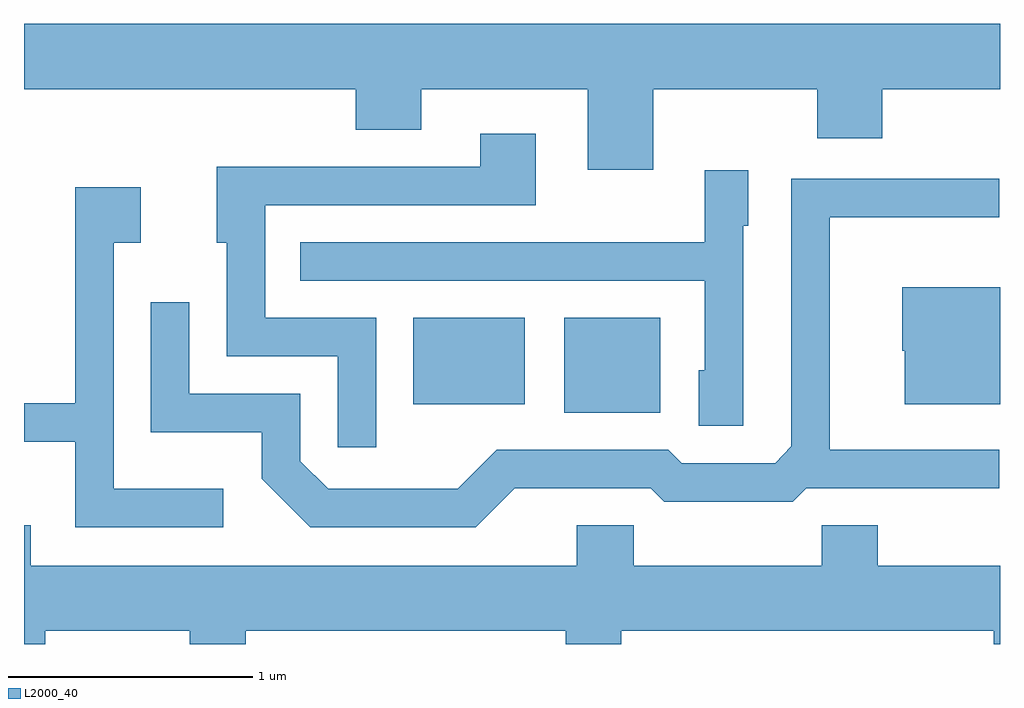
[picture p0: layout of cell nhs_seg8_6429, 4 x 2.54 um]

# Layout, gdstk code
import gdstk
lib = gdstk.Library(unit=1e-6, precision=1e-09)
def R(c, l, rs):  # rectangles x0, y0, x1, y1
    for r in rs: c.add(gdstk.rectangle(r[:2], r[2:], *l))
def P(c, l, *ps):  # polygons
    for p in ps: c.add(gdstk.Polygon(p, *l))
L2000_40 = (2000, 40)

nhs_seg8_6429 = lib.new_cell('nhs_seg8_6429')
R(nhs_seg8_6429, L2000_40, [(379.826,1857.291,380.219,1857.679), (379.206,1857.326,379.664,1857.679)])
P(nhs_seg8_6429, L2000_40, [(380.189,1858.616),(380.861,1858.616),(380.861,1858.416),(381.129,1858.416),(381.129,1858.616),(381.611,1858.616),(381.611,1858.884),(377.611,1858.884),(377.611,1858.616),(378.971,1858.616),(378.971,1858.451),(379.239,1858.451),(379.239,1858.616),(379.921,1858.616),(379.921,1858.286),(380.189,1858.286)],
  [(379.054,1857.679),(378.599,1857.679),(378.599,1858.141),(379.709,1858.141),(379.709,1858.434),(379.481,1858.434),(379.481,1858.299),(378.401,1858.299),(378.401,1857.986),(378.441,1857.986),(378.441,1857.521),(378.896,1857.521),(378.896,1857.148),(379.054,1857.148)],
  [(380.559,1858.056),(380.579,1858.056),(380.579,1858.284),(380.401,1858.284),(380.401,1857.989),(378.743,1857.989),(378.743,1857.831),(380.401,1857.831),(380.401,1857.464),(380.376,1857.464),(380.376,1857.236),(380.559,1857.236)],
  [(379.622,1856.981),(380.179,1856.981),(380.234,1856.926),(380.762,1856.926),(380.817,1856.981),(381.608,1856.981),(381.608,1857.139),(380.914,1857.139),(380.914,1858.091),(381.608,1858.091),(381.608,1858.249),(380.756,1858.249),(380.756,1857.152),(380.689,1857.084),(380.307,1857.084),(380.252,1857.139),(379.549,1857.139),(379.389,1856.979),(378.857,1856.979),(378.744,1857.092),(378.744,1857.369),(378.289,1857.369),(378.289,1857.743),(378.131,1857.743),(378.131,1857.211),(378.586,1857.211),(378.586,1857.019),(378.784,1856.821),(379.462,1856.821)],
  [(378.428,1856.979),(377.979,1856.979),(377.979,1857.986),(378.089,1857.986),(378.089,1858.214),(377.821,1858.214),(377.821,1857.329),(377.611,1857.329),(377.611,1857.171),(377.821,1857.171),(377.821,1856.821),(378.428,1856.821)],
  [(381.611,1857.804),(381.211,1857.804),(381.211,1857.545),(381.221,1857.545),(381.221,1857.326),(381.611,1857.326)],
  [(377.699,1856.396),(378.291,1856.396),(378.291,1856.342),(378.519,1856.342),(378.519,1856.396),(379.831,1856.396),(379.831,1856.342),(380.059,1856.342),(380.059,1856.396),(381.586,1856.396),(381.586,1856.342),(381.611,1856.342),(381.611,1856.664),(381.109,1856.664),(381.109,1856.829),(380.881,1856.829),(380.881,1856.664),(380.109,1856.664),(380.109,1856.829),(379.876,1856.829),(379.876,1856.664),(377.639,1856.664),(377.639,1856.829),(377.611,1856.829),(377.611,1856.342),(377.699,1856.342)])

lib.write_gds('nhs_seg8_6429.gds')
